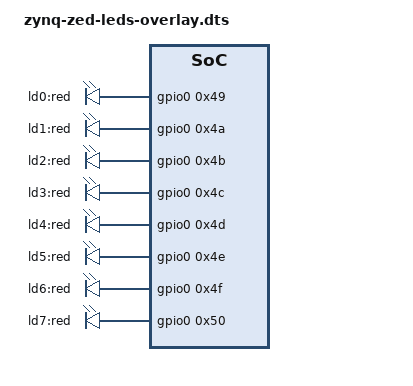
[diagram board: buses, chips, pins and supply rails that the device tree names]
/dts-v1/;
/plugin/;

/ {
	fragment@0 {
		target-path = "/";
		__overlay__ {
			leds: leds {
				compatible = "gpio-leds";

				ld0 {
					label = "ld0:red";
					gpios = <&gpio0 0x49 0x00>;
				};

				ld1 {
					label = "ld1:red";
					gpios = <&gpio0 0x4a 0x00>;
				};

				ld2 {
					label = "ld2:red";
					gpios = <&gpio0 0x4b 0x00>;
				};

				ld3 {
					label = "ld3:red";
					gpios = <&gpio0 0x4c 0x00>;
				};

				ld4 {
					label = "ld4:red";
					gpios = <&gpio0 0x4d 0x00>;
				};

				ld5 {
					label = "ld5:red";
					gpios = <&gpio0 0x4e 0x00>;
				};

				ld6 {
					label = "ld6:red";
					gpios = <&gpio0 0x4f 0x00>;
				};

				ld7 {
					label = "ld7:red";
					gpios = <&gpio0 0x50 0x00>;
				};
			};
		};
	};
};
